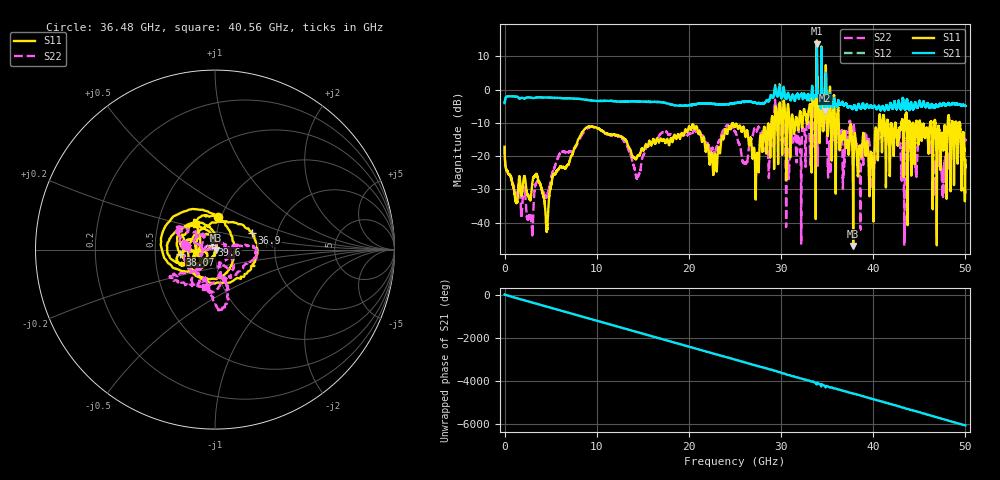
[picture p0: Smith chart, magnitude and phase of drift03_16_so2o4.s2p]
!Created with skrf (http://scikit-rf.org).
# Hz S RI R 50.0
!freq ReS11 ImS11 ReS21 ImS21 ReS12 ImS12 ReS22 ImS22
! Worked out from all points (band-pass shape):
!   10001 points, 300 kHz to 50 GHz, reference 50 ohm
!   highest |S21| = 13.88 dB at 33.88 GHz (marker M1); lowest = -6.3 dB at 34.79 GHz (marker M2)
!   |S21| within 3 dB of the highest: 33.86944 GHz to 33.88944 GHz (20 MHz wide, 0.059 % of centre); 34.37654 GHz to 34.39149 GHz (14.95 MHz wide, 0.0435 % of centre)
!   lowest |S11| = -47.0 dB at 37.83 GHz (marker M3), VSWR 1.01, Z = 50.4 - j0.174 ohm
!   |S11| at or under -10 dB: start of sweep to 28.94 GHz; 36.26 GHz to 40.61 GHz (4.348 GHz wide, 11.3 % of centre); 46.75 GHz to 48.09 GHz (1.337 GHz wide, 2.82 % of centre) (the widest 3 of 57)
!   |S22| runs from -47.1 to 10.3 dB; largest |S21 - S12| = 0.82
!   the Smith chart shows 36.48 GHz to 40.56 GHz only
!   S11 on the Smith chart (normalised r, x): 36.48 GHz: 0.97, +0.37; 36.9 GHz: 1.48, +0.29; 38.07 GHz: 0.67, -0.04; 39.6 GHz: 0.97, +0.05; 40.56 GHz: 0.78, +0.23
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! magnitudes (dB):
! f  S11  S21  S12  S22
! 300 kHz  -17.2  -4.0  -4.0  -17.0
! 2.825 GHz  -32.7  -2.4  -2.4  -38.3
! 4.565 GHz  -42.1  -2.3  -2.4  -32.0
! 8.335 GHz  -13.1  -2.8  -2.8  -13.9
! 14.43 GHz  -20.0  -3.5  -3.5  -26.4
! 16.67 GHz  -15.4  -3.7  -3.7  -14.3
! 22.82 GHz  -19.3  -4.3  -4.3  -19.0
! 25 GHz  -11.0  -4.0  -4.0  -12.6
! 27.39 GHz  -19.3  -4.1  -4.1  -12.4
! 29.6 GHz  -10.4  -2.0  -2.1  -11.7
! 30.7 GHz  -5.8  -1.5  -1.5  -17.4
! 33.34 GHz  -13.8  -0.5  -0.6  -7.3
! 33.88 GHz  14.8  13.9  13.5  10.3
! 34.79 GHz  -3.2  -6.3  -5.0  -8.6
! 36.48 GHz  -14.7  -4.4  -4.4  -15.5
! 36.9 GHz  -12.9  -4.5  -4.5  -18.7
! 37.83 GHz  -47.0  -5.6  -5.6  -11.4
! 38.07 GHz  -14.1  -5.4  -5.4  -17.4
! 39.6 GHz  -30.1  -5.2  -5.2  -16.4
! 40.56 GHz  -15.0  -5.0  -5.0  -13.3
! 41.67 GHz  -12.4  -6.0  -6.0  -15.2
! 50 GHz  -21.2  -4.9  -4.9  -15.1
